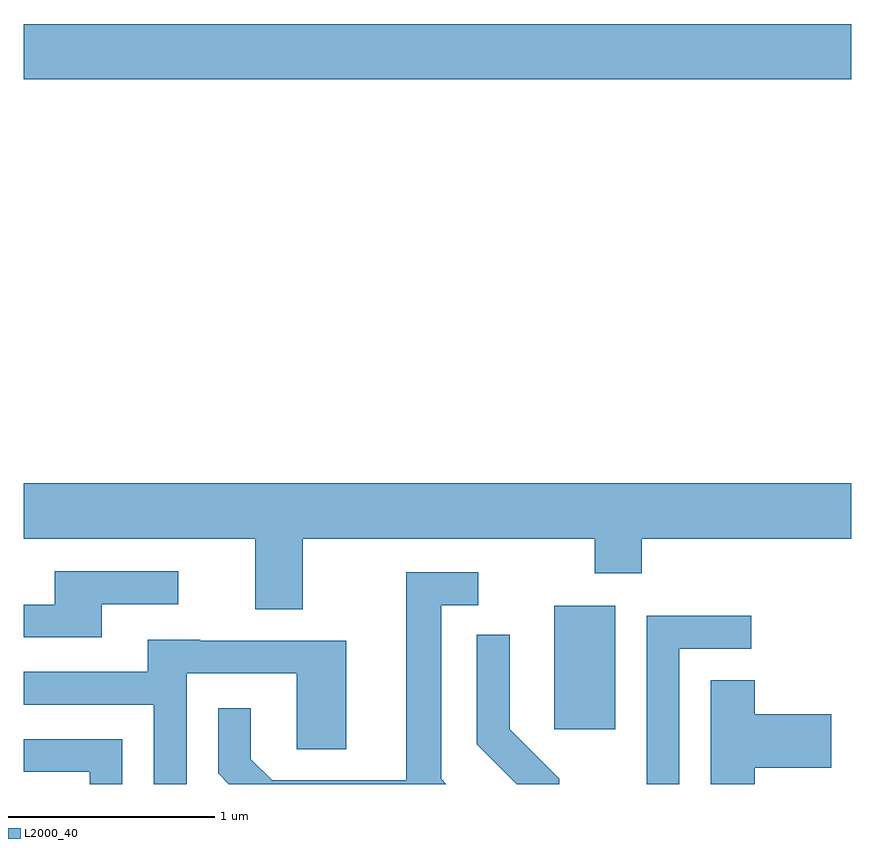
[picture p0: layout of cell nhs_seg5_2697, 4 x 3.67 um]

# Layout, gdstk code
import gdstk
lib = gdstk.Library(unit=1e-6, precision=1e-09)
def R(c, l, rs):  # rectangles x0, y0, x1, y1
    for r in rs: c.add(gdstk.rectangle(r[:2], r[2:], *l))
def P(c, l, *ps):  # polygons
    for p in ps: c.add(gdstk.Polygon(p, *l))
L2000_40 = (2000, 40)

nhs_seg5_2697 = lib.new_cell('nhs_seg5_2697')
R(nhs_seg5_2697, L2000_40, [(268.176,1440.336,268.469,1440.934), (265.611,1443.476,269.611,1443.744)])
P(nhs_seg5_2697, L2000_40, [(266.959,1441.256),(268.371,1441.256),(268.371,1441.091),(268.599,1441.091),(268.599,1441.256),(269.611,1441.256),(269.611,1441.524),(265.611,1441.524),(265.611,1441.256),(266.731,1441.256),(266.731,1440.916),(266.959,1440.916)],
  [(265.989,1440.941),(266.358,1440.941),(266.358,1441.099),(265.761,1441.099),(265.761,1440.939),(265.611,1440.939),(265.611,1440.781),(265.989,1440.781)],
  [(267.629,1440.097),(267.629,1440.936),(267.808,1440.936),(267.808,1441.094),(267.461,1441.094),(267.461,1440.089),(266.812,1440.089),(266.709,1440.192),(266.709,1440.438),(266.551,1440.438),(266.551,1440.124),(266.603,1440.072),(267.654,1440.072)],
  [(268.779,1440.726),(269.128,1440.726),(269.128,1440.884),(268.621,1440.884),(268.621,1440.072),(268.779,1440.072)],
  [(268.199,1440.097),(267.959,1440.337),(267.959,1440.793),(267.801,1440.793),(267.801,1440.264),(267.993,1440.072),(268.199,1440.072)],
  [(266.399,1440.606),(266.931,1440.606),(266.931,1440.241),(267.169,1440.241),(267.169,1440.764),(266.465,1440.764),(266.465,1440.769),(266.211,1440.769),(266.211,1440.614),(265.611,1440.614),(265.611,1440.456),(266.241,1440.456),(266.241,1440.072),(266.399,1440.072)],
  [(269.144,1440.151),(269.514,1440.151),(269.514,1440.409),(269.144,1440.409),(269.144,1440.574),(268.931,1440.574),(268.931,1440.072),(269.144,1440.072)],
  [(266.089,1440.289),(265.611,1440.289),(265.611,1440.131),(265.931,1440.131),(265.931,1440.072),(266.089,1440.072)])

lib.write_gds('nhs_seg5_2697.gds')
